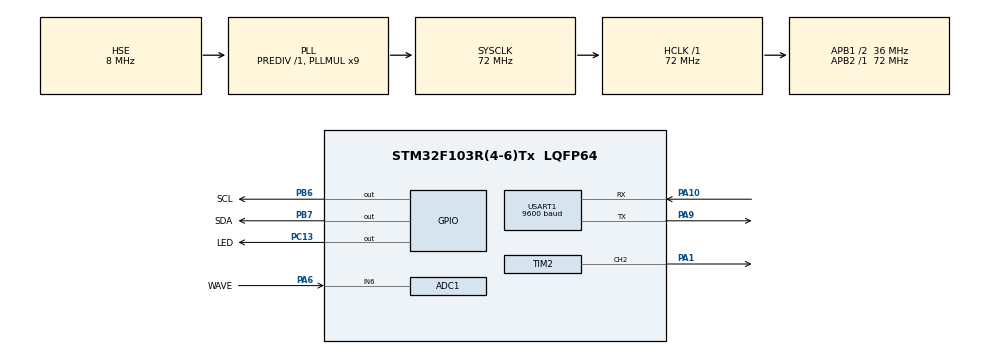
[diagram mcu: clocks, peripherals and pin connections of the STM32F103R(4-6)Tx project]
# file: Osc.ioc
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ADC1.Channel-0\#ChannelRegularConversion=ADC_CHANNEL_6
ADC1.ExternalTrigConv=ADC_SOFTWARE_START
ADC1.NbrOfConversionFlag=1
ADC1.Rank-0\#ChannelRegularConversion=1
ADC1.SamplingTime-0\#ChannelRegularConversion=ADC_SAMPLETIME_1CYCLE_5
ADC1.master=1
Mcu.Family=STM32F1
Mcu.Name=STM32F103R(4-6)Tx
Mcu.Package=LQFP64
NVIC.PriorityGroup=NVIC_PRIORITYGROUP_4
NVIC.TIM2_IRQn=true\:0\:0\:false\:false\:true\:true\:true
PA1.Signal=S_TIM2_CH2
PA10.Mode=Asynchronous
PA10.Signal=USART1_RX
PA13.Mode=Serial_Wire
PA13.Signal=SYS_JTMS-SWDIO
PA14.Mode=Serial_Wire
PA14.Signal=SYS_JTCK-SWCLK
PA6.GPIO_Label=WAVE
PA6.Signal=ADCx_IN6
PA9.Mode=Asynchronous
PA9.Signal=USART1_TX
PB6.GPIO_Label=SCL
PB6.GPIO_PuPd=GPIO_PULLUP
PB6.GPIO_Speed=GPIO_SPEED_FREQ_HIGH
PB6.PinState=GPIO_PIN_SET
PB6.Signal=GPIO_Output
PB7.GPIO_Label=SDA
PB7.GPIO_PuPd=GPIO_PULLUP
PB7.GPIO_Speed=GPIO_SPEED_FREQ_HIGH
PB7.PinState=GPIO_PIN_SET
PB7.Signal=GPIO_Output
PC13-TAMPER-RTC.GPIO_Label=LED
PC13-TAMPER-RTC.GPIO_PuPd=GPIO_PULLUP
PC13-TAMPER-RTC.GPIO_Speed=GPIO_SPEED_FREQ_HIGH
PC13-TAMPER-RTC.Signal=GPIO_Output
PD0-OSC_IN.Mode=HSE-External-Oscillator
PD0-OSC_IN.Signal=RCC_OSC_IN
PD1-OSC_OUT.Mode=HSE-External-Oscillator
PD1-OSC_OUT.Signal=RCC_OSC_OUT
ProjectManager.HeapSize=0x200
ProjectManager.StackSize=0x400
ProjectManager.TargetToolchain=MDK-ARM V5.27
RCC.ADCPresc=RCC_ADCPCLK2_DIV6
RCC.AHBFreq_Value=72000000
RCC.APB1CLKDivider=RCC_HCLK_DIV2
RCC.APB1Freq_Value=36000000
RCC.APB1TimFreq_Value=72000000
RCC.APB2Freq_Value=72000000
RCC.APB2TimFreq_Value=72000000
RCC.HCLKFreq_Value=72000000
RCC.PLLMUL=RCC_PLL_MUL9
RCC.PLLSourceVirtual=RCC_PLLSOURCE_HSE
RCC.SYSCLKFreq_VALUE=72000000
RCC.SYSCLKSource=RCC_SYSCLKSOURCE_PLLCLK
RCC.USBFreq_Value=72000000
SH.ADCx_IN6.0=ADC1_IN6,IN6
SH.S_TIM2_CH2.0=TIM2_CH2,PWM Generation2 CH2
TIM2.AutoReloadPreload=TIM_AUTORELOAD_PRELOAD_ENABLE
TIM2.Channel-PWM\ Generation2\ CH2=TIM_CHANNEL_2
TIM2.Period=1000-1
TIM2.Prescaler=7200-1
USART1.BaudRate=9600
USART1.VirtualMode=VM_ASYNC
board=custom

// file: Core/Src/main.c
/* USER CODE BEGIN Header */
/**
  ******************************************************************************
  * @file           : main.c
  * @brief          : Main program body
  ******************************************************************************
  * @attention
  *
  * <h2><center>&copy; Copyright (c) 2022 STMicroelectronics.
  * All rights reserved.</center></h2>
  *
  * This software component is licensed by ST under BSD 3-Clause license,
  * the "License"; You may not use this file except in compliance with the
  * License. You may obtain a copy of the License at:
  *                        opensource.org/licenses/BSD-3-Clause
  *
  ******************************************************************************
  */
/* USER CODE END Header */
#include "main.h"
#include "adc.h"
#include "tim.h"
#include "usart.h"
#include "gpio.h"

/* USER CODE BEGIN Includes */
#include "oled.h"
#include <math.h>
#include <stdio.h>
#include <string.h>
/* USER CODE END Includes */

/* USER CODE BEGIN PTD */
extern uint16_t raw;
/* USER CODE END PTD */

void SystemClock_Config(void);

/* USER CODE BEGIN 0 */

/* printf函数支持 */
int __io_putchar(int ch)
{
	HAL_UART_Transmit(&huart1, (uint8_t *)&ch, 1, 0xFFFF);
	return ch;
}

int _write(int file, char *ptr, int len)
{
	int DataIdx;
	for(DataIdx = 0; DataIdx < len; DataIdx++)
	{
		__io_putchar(*ptr++);
	}
	return len;
}
/* USER CODE END 0 */

int main(void)
{

  /* MCU Configuration--------------------------------------------------------*/

  /* Reset of all peripherals, Initializes the Flash interface and the Systick. */
  HAL_Init();

  /* Configure the system clock */
  SystemClock_Config();

  /* Initialize all configured peripherals */
  MX_GPIO_Init();
  MX_ADC1_Init();
  MX_TIM2_Init();
  MX_USART1_UART_Init();
  /* USER CODE BEGIN 2 */
	OLED_Init(); // oled 初始化
	HAL_TIM_Base_Start_IT(&htim2); /* 开启定时器读取adc */

  /* USER CODE END 2 */

  /* Infinite loop */
  /* USER CODE BEGIN WHILE */
  while (1)
  {
	  HAL_GPIO_WritePin(LED_GPIO_Port, LED_Pin, GPIO_PIN_SET);
	  HAL_Delay(500);
	  HAL_GPIO_WritePin(LED_GPIO_Port, LED_Pin, GPIO_PIN_RESET);
	  HAL_Delay(500);
	  //HAL_UART_Transmit(&huart1, (uint8_t *)"Hello", 6, 100);

    /* USER CODE END WHILE */

  }
}

void SystemClock_Config(void)
{
  RCC_OscInitTypeDef RCC_OscInitStruct = {0};
  RCC_ClkInitTypeDef RCC_ClkInitStruct = {0};
  RCC_PeriphCLKInitTypeDef PeriphClkInit = {0};

  /** Initializes the RCC Oscillators according to the specified parameters
  * in the RCC_OscInitTypeDef structure.
  */
  RCC_OscInitStruct.OscillatorType = RCC_OSCILLATORTYPE_HSE;
  RCC_OscInitStruct.HSEState = RCC_HSE_ON;
  RCC_OscInitStruct.HSEPredivValue = RCC_HSE_PREDIV_DIV1;
  RCC_OscInitStruct.HSIState = RCC_HSI_ON;
  RCC_OscInitStruct.PLL.PLLState = RCC_PLL_ON;
  RCC_OscInitStruct.PLL.PLLSource = RCC_PLLSOURCE_HSE;
  RCC_OscInitStruct.PLL.PLLMUL = RCC_PLL_MUL9;
  if (HAL_RCC_OscConfig(&RCC_OscInitStruct) != HAL_OK)
  {
    Error_Handler();
  }
  /** Initializes the CPU, AHB and APB buses clocks
  */
  RCC_ClkInitStruct.ClockType = RCC_CLOCKTYPE_HCLK|RCC_CLOCKTYPE_SYSCLK
                              |RCC_CLOCKTYPE_PCLK1|RCC_CLOCKTYPE_PCLK2;
  RCC_ClkInitStruct.SYSCLKSource = RCC_SYSCLKSOURCE_PLLCLK;
  RCC_ClkInitStruct.AHBCLKDivider = RCC_SYSCLK_DIV1;
  RCC_ClkInitStruct.APB1CLKDivider = RCC_HCLK_DIV2;
  RCC_ClkInitStruct.APB2CLKDivider = RCC_HCLK_DIV1;

  if (HAL_RCC_ClockConfig(&RCC_ClkInitStruct, FLASH_LATENCY_2) != HAL_OK)
  {
    Error_Handler();
  }
  PeriphClkInit.PeriphClockSelection = RCC_PERIPHCLK_ADC;
  PeriphClkInit.AdcClockSelection = RCC_ADCPCLK2_DIV6;
  if (HAL_RCCEx_PeriphCLKConfig(&PeriphClkInit) != HAL_OK)
  {
    Error_Handler();
  }
}

void Error_Handler(void)
{
  __disable_irq();
  while (1)
  {
  }
}

/************************ (C) COPYRIGHT STMicroelectronics *****END OF FILE****/
